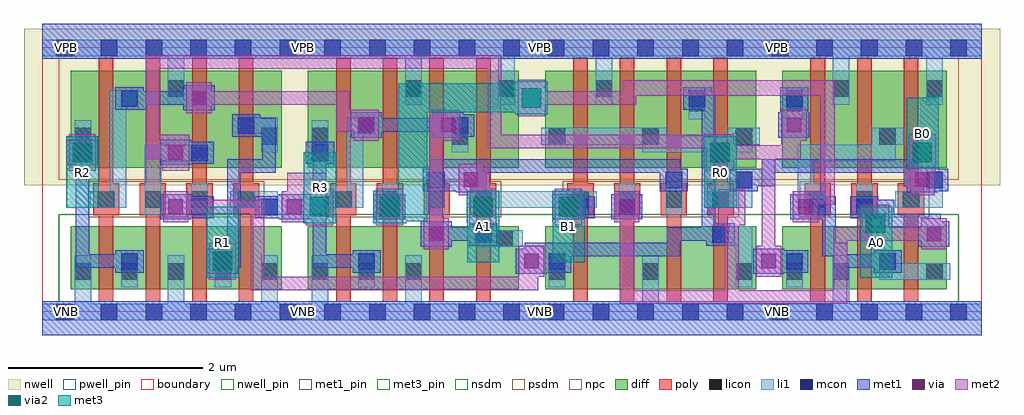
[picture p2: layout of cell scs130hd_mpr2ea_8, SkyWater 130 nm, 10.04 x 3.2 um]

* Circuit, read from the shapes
.subckt scs130hd_mpr2ea_8 A0 A1 B0 B1 R0 R1 R2 R3 VNB VPB vgnd vpwr
XM1 R2 n1 vgnd VNB sky130_fd_pr__nfet_01v8 w=0.65 l=0.15
XM2 vgnd R0 R2 VNB sky130_fd_pr__nfet_01v8 w=0.65 l=0.15
XM3 R1 n2 vgnd VNB sky130_fd_pr__nfet_01v8 w=0.65 l=0.15
XM4 vgnd R3 R1 VNB sky130_fd_pr__nfet_01v8 w=0.65 l=0.15
XM5 R3 n1 vgnd VNB sky130_fd_pr__nfet_01v8 w=0.65 l=0.15
XM6 vgnd n3 R3 VNB sky130_fd_pr__nfet_01v8 w=0.65 l=0.15
XM7 n4 A1 vgnd VNB sky130_fd_pr__nfet_01v8 w=0.65 l=0.15
XM8 n1 B1 n4 VNB sky130_fd_pr__nfet_01v8 w=0.65 l=0.15
XM9 n5 B1 n2 VNB sky130_fd_pr__nfet_01v8 w=0.65 l=0.15
XM10 vgnd A0 n5 VNB sky130_fd_pr__nfet_01v8 w=0.65 l=0.15
XM11 n6 A1 vgnd VNB sky130_fd_pr__nfet_01v8 w=0.65 l=0.15
XM12 n2 B0 n6 VNB sky130_fd_pr__nfet_01v8 w=0.65 l=0.15
XM13 vgnd n3 R0 VNB sky130_fd_pr__nfet_01v8 w=0.65 l=0.15
XM14 n7 A0 vgnd VNB sky130_fd_pr__nfet_01v8 w=0.65 l=0.15
XM15 n3 B0 n7 VNB sky130_fd_pr__nfet_01v8 w=0.65 l=0.15
XM16 n8 n1 R2 VPB sky130_fd_pr__pfet_01v8 w=1 l=0.15
XM17 vpwr R0 n8 VPB sky130_fd_pr__pfet_01v8 w=1 l=0.15
XM18 n9 n2 vpwr VPB sky130_fd_pr__pfet_01v8 w=1 l=0.15
XM19 R1 R3 n9 VPB sky130_fd_pr__pfet_01v8 w=1 l=0.15
XM20 n10 n1 R3 VPB sky130_fd_pr__pfet_01v8 w=1 l=0.15
XM21 vpwr n3 n10 VPB sky130_fd_pr__pfet_01v8 w=1 l=0.15
XM22 n1 A1 vpwr VPB sky130_fd_pr__pfet_01v8 w=1 l=0.15
XM23 vpwr B1 n1 VPB sky130_fd_pr__pfet_01v8 w=1 l=0.15
XM24 vpwr B1 n11 VPB sky130_fd_pr__pfet_01v8 w=1 l=0.15
XM25 n11 A0 vpwr VPB sky130_fd_pr__pfet_01v8 w=1 l=0.15
XM26 n2 A1 n11 VPB sky130_fd_pr__pfet_01v8 w=1 l=0.15
XM27 n11 B0 n2 VPB sky130_fd_pr__pfet_01v8 w=1 l=0.15
XM28 vpwr n3 R0 VPB sky130_fd_pr__pfet_01v8 w=1 l=0.15
XM29 n3 A0 vpwr VPB sky130_fd_pr__pfet_01v8 w=1 l=0.15
XM30 vpwr B0 n3 VPB sky130_fd_pr__pfet_01v8 w=1 l=0.15
.ends

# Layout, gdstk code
import gdstk
lib = gdstk.Library(unit=1e-6, precision=1e-09)
def R(c, l, rs):  # rectangles x0, y0, x1, y1
    for r in rs: c.add(gdstk.rectangle(r[:2], r[2:], *l))
nwell_pin = (64, 16)
nwell = (64, 20)
diff = (65, 20)
poly = (66, 20)
licon = (66, 44)
li1 = (67, 20)
mcon = (67, 44)
met1_pin = (68, 16)
met1 = (68, 20)
via = (68, 44)
met2 = (69, 20)
via2 = (69, 44)
met3_pin = (70, 16)
met3 = (70, 20)
nsdm = (93, 44)
psdm = (94, 20)
npc = (95, 20)
pwell_pin = (122, 16)
boundary = (235, 4)

scs130hd_mpr2ea_8 = lib.new_cell('scs130hd_mpr2ea_8')
R(scs130hd_mpr2ea_8, nwell_pin, [(0.16,2.63,0.33,2.8), (0.16,2.63,0.33,2.8), (2.6,2.63,2.77,2.8), (2.6,2.63,2.77,2.8), (5.04,2.63,5.21,2.8), (5.04,2.63,5.21,2.8), (7.48,2.63,7.65,2.8), (7.48,2.63,7.65,2.8)])
R(scs130hd_mpr2ea_8, nwell, [(-0.19,1.3,9.85,2.91), (-0.19,1.3,9.85,2.91)])
R(scs130hd_mpr2ea_8, diff, [(0.29,0.23,2.46,0.88), (0.29,0.23,2.46,0.88), (2.73,0.23,4.9,0.88), (2.73,0.23,4.9,0.88), (5.17,0.23,7.34,0.88), (5.17,0.23,7.34,0.88), (7.61,0.23,9.3,0.88), (7.61,0.23,9.3,0.88), (0.29,1.48,2.46,2.48), (0.29,1.48,2.46,2.48), (2.73,1.48,4.9,2.48), (2.73,1.48,4.9,2.48), (5.17,1.48,7.34,2.48), (5.17,1.48,7.34,2.48), (7.61,1.48,9.3,2.48), (7.61,1.48,9.3,2.48)])
R(scs130hd_mpr2ea_8, poly, [(0.58,0.1,0.73,0.99), (0.58,0.1,0.73,0.99), (1.06,0.1,1.21,0.99), (1.06,0.1,1.21,0.99), (1.54,0.1,1.69,0.99), (1.54,0.1,1.69,0.99), (2.02,0.1,2.17,0.99), (2.02,0.1,2.17,0.99), (3.02,0.1,3.17,0.99), (3.02,0.1,3.17,0.99), (3.5,0.1,3.65,0.99), (3.5,0.1,3.65,0.99), (3.98,0.1,4.13,0.99), (3.98,0.1,4.13,0.99), (4.46,0.1,4.61,0.99), (4.46,0.1,4.61,0.99), (5.46,0.1,5.61,0.99), (5.46,0.1,5.61,0.99), (5.94,0.1,6.09,0.99), (5.94,0.1,6.09,0.99), (6.42,0.1,6.57,0.99), (6.42,0.1,6.57,0.99), (6.9,0.1,7.05,0.99), (6.9,0.1,7.05,0.99), (7.9,0.1,8.05,0.99), (7.9,0.1,8.05,0.99), (8.38,0.1,8.53,0.99), (8.38,0.1,8.53,0.99), (8.86,0.1,9.01,0.99), (8.86,0.1,9.01,0.99), (0.52,0.99,0.79,1.32), (0.52,0.99,0.79,1.32), (1,0.99,1.27,1.32), (1,0.99,1.27,1.32), (1.48,0.99,1.75,1.32), (1.48,0.99,1.75,1.32), (1.96,0.99,2.23,1.32), (1.96,0.99,2.23,1.32), (2.96,0.99,3.23,1.32), (2.96,0.99,3.23,1.32), (3.44,0.99,3.71,1.32), (3.44,0.99,3.71,1.32), (3.92,0.99,4.19,1.32), (3.92,0.99,4.19,1.32), (4.4,0.99,4.67,1.32), (4.4,0.99,4.67,1.32), (5.4,0.99,5.67,1.32), (5.4,0.99,5.67,1.32), (5.88,0.99,6.15,1.32), (5.88,0.99,6.15,1.32), (6.36,0.99,6.63,1.32), (6.36,0.99,6.63,1.32), (6.84,0.99,7.11,1.32), (6.84,0.99,7.11,1.32), (7.84,0.99,8.11,1.32), (7.84,0.99,8.11,1.32), (8.32,0.99,8.59,1.32), (8.32,0.99,8.59,1.32), (8.8,0.99,9.07,1.32), (8.8,0.99,9.07,1.32), (0.58,1.32,0.73,2.61), (0.58,1.32,0.73,2.61), (1.06,1.32,1.21,2.61), (1.06,1.32,1.21,2.61), (1.54,1.32,1.69,2.61), (1.54,1.32,1.69,2.61), (2.02,1.32,2.17,2.61), (2.02,1.32,2.17,2.61), (3.02,1.32,3.17,2.61), (3.02,1.32,3.17,2.61), (3.5,1.32,3.65,2.61), (3.5,1.32,3.65,2.61), (3.98,1.32,4.13,2.61), (3.98,1.32,4.13,2.61), (4.46,1.32,4.61,2.61), (4.46,1.32,4.61,2.61), (5.46,1.32,5.61,2.61), (5.46,1.32,5.61,2.61), (5.94,1.32,6.09,2.61), (5.94,1.32,6.09,2.61), (6.42,1.32,6.57,2.61), (6.42,1.32,6.57,2.61), (6.9,1.32,7.05,2.61), (6.9,1.32,7.05,2.61), (7.9,1.32,8.05,2.61), (7.9,1.32,8.05,2.61), (8.38,1.32,8.53,2.61), (8.38,1.32,8.53,2.61), (8.86,1.32,9.01,2.61), (8.86,1.32,9.01,2.61)])
R(scs130hd_mpr2ea_8, licon, [(0.33,0.33,0.5,0.5), (0.33,0.33,0.5,0.5), (0.81,0.33,0.98,0.5), (0.81,0.33,0.98,0.5), (1.29,0.33,1.46,0.5), (1.29,0.33,1.46,0.5), (1.77,0.33,1.94,0.5), (1.77,0.33,1.94,0.5), (2.25,0.33,2.42,0.5), (2.25,0.33,2.42,0.5), (2.77,0.33,2.94,0.5), (2.77,0.33,2.94,0.5), (3.25,0.33,3.42,0.5), (3.25,0.33,3.42,0.5), (3.73,0.33,3.9,0.5), (3.73,0.33,3.9,0.5), (5.21,0.33,5.38,0.5), (5.21,0.33,5.38,0.5), (6.17,0.33,6.34,0.5), (6.17,0.33,6.34,0.5), (7.13,0.33,7.3,0.5), (7.13,0.33,7.3,0.5), (7.65,0.33,7.82,0.5), (7.65,0.33,7.82,0.5), (8.13,0.33,8.3,0.5), (8.13,0.33,8.3,0.5), (9.09,0.33,9.26,0.5), (9.09,0.33,9.26,0.5), (4.67,0.67,4.84,0.84), (4.67,0.67,4.84,0.84), (0.57,1.07,0.74,1.24), (0.57,1.07,0.74,1.24), (1.05,1.07,1.22,1.24), (1.05,1.07,1.22,1.24), (1.53,1.07,1.7,1.24), (1.53,1.07,1.7,1.24), (2.01,1.07,2.18,1.24), (2.01,1.07,2.18,1.24), (3.01,1.07,3.18,1.24), (3.01,1.07,3.18,1.24), (3.49,1.07,3.66,1.24), (3.49,1.07,3.66,1.24), (3.97,1.07,4.14,1.24), (3.97,1.07,4.14,1.24), (4.45,1.07,4.62,1.24), (4.45,1.07,4.62,1.24), (5.45,1.07,5.62,1.24), (5.45,1.07,5.62,1.24), (5.93,1.07,6.1,1.24), (5.93,1.07,6.1,1.24), (6.41,1.07,6.58,1.24), (6.41,1.07,6.58,1.24), (6.89,1.07,7.06,1.24), (6.89,1.07,7.06,1.24), (7.89,1.07,8.06,1.24), (7.89,1.07,8.06,1.24), (8.37,1.07,8.54,1.24), (8.37,1.07,8.54,1.24), (8.85,1.07,9.02,1.24), (8.85,1.07,9.02,1.24), (0.33,1.72,0.5,1.89), (0.33,1.72,0.5,1.89), (2.25,1.72,2.42,1.89), (2.25,1.72,2.42,1.89), (2.77,1.72,2.94,1.89), (2.77,1.72,2.94,1.89), (4.21,1.72,4.38,1.89), (4.21,1.72,4.38,1.89), (5.21,1.72,5.38,1.89), (5.21,1.72,5.38,1.89), (6.17,1.72,6.34,1.89), (6.17,1.72,6.34,1.89), (7.13,1.72,7.3,1.89), (7.13,1.72,7.3,1.89), (8.61,1.72,8.78,1.89), (8.61,1.72,8.78,1.89), (6.65,2.06,6.82,2.23), (6.65,2.06,6.82,2.23), (7.65,2.06,7.82,2.23), (7.65,2.06,7.82,2.23), (1.29,2.21,1.46,2.38), (1.29,2.21,1.46,2.38), (3.73,2.21,3.9,2.38), (3.73,2.21,3.9,2.38), (4.69,2.21,4.86,2.38), (4.69,2.21,4.86,2.38), (5.69,2.21,5.86,2.38), (5.69,2.21,5.86,2.38), (8.13,2.21,8.3,2.38), (8.13,2.21,8.3,2.38), (9.09,2.21,9.26,2.38), (9.09,2.21,9.26,2.38)])
R(scs130hd_mpr2ea_8, li1, [(0,-0.09,9.66,0.08), (0,-0.09,9.66,0.08), (0.33,0.08,0.5,0.58), (0.33,0.08,0.5,0.58), (1.29,0.08,1.46,0.58), (1.29,0.08,1.46,0.58), (2.25,0.08,2.42,0.58), (2.25,0.08,2.42,0.58), (2.77,0.08,2.94,0.58), (2.77,0.08,2.94,0.58), (3.73,0.08,3.9,0.58), (3.73,0.08,3.9,0.58), (6.17,0.08,6.34,0.58), (6.17,0.08,6.34,0.58), (8.13,0.08,8.3,0.58), (8.13,0.08,8.3,0.58), (0.81,0.25,0.98,0.6), (0.81,0.25,0.98,0.6), (1.77,0.25,1.94,0.6), (1.77,0.25,1.94,0.6), (3.25,0.25,3.42,0.6), (3.25,0.25,3.42,0.6), (5.21,0.25,5.38,0.6), (5.21,0.25,5.38,0.6), (7.13,0.25,7.3,0.71), (7.13,0.25,7.3,0.71), (7.65,0.25,7.82,0.6), (7.65,0.25,7.82,0.6), (8.61,0.33,9.34,0.5), (8.61,0.33,9.34,0.5), (8.61,0.5,8.78,0.6), (8.61,0.5,8.78,0.6), (4.45,0.67,4.94,0.84), (4.45,0.67,4.94,0.84), (6.89,0.71,7.3,0.88), (6.89,0.71,7.3,0.88), (4.45,0.84,4.62,0.88), (4.45,0.84,4.62,0.88), (1.05,0.99,1.22,1.55), (1.05,0.99,1.22,1.55), (1.53,0.99,1.7,1.32), (1.53,0.99,1.7,1.32), (2.25,0.99,2.42,1.07), (2.25,0.99,2.42,1.07), (3.49,0.99,3.66,1.32), (3.49,0.99,3.66,1.32), (3.97,0.99,4.14,1.44), (3.97,0.99,4.14,1.44), (5.45,0.99,5.62,1.07), (5.45,0.99,5.62,1.07), (5.93,0.99,6.1,1.32), (5.93,0.99,6.1,1.32), (6.41,0.99,6.58,1.44), (6.41,0.99,6.58,1.44), (7.89,0.99,8.06,1.07), (7.89,0.99,8.06,1.07), (8.37,0.99,8.54,1.32), (8.37,0.99,8.54,1.32), (0.49,1.07,0.86,1.24), (0.49,1.07,0.86,1.24), (1.93,1.07,2.42,1.24), (1.93,1.07,2.42,1.24), (2.93,1.07,3.3,1.24), (2.93,1.07,3.3,1.24), (4.37,1.07,5.7,1.24), (4.37,1.07,5.7,1.24), (6.81,1.07,7.3,1.24), (6.81,1.07,7.3,1.24), (7.77,1.07,8.06,1.32), (7.77,1.07,8.06,1.32), (8.77,1.07,9.26,1.24), (8.77,1.07,9.26,1.24), (0.69,1.24,0.86,2.11), (0.69,1.24,0.86,2.11), (3.13,1.24,3.3,1.83), (3.13,1.24,3.3,1.83), (7.13,1.24,7.3,1.44), (7.13,1.24,7.3,1.44), (9.09,1.24,9.26,1.44), (9.09,1.24,9.26,1.44), (7.77,1.32,7.94,1.55), (7.77,1.32,7.94,1.55), (0.33,1.55,0.5,1.97), (0.33,1.55,0.5,1.97), (1.05,1.55,1.7,1.72), (1.05,1.55,1.7,1.72), (2.77,1.55,2.94,1.97), (2.77,1.55,2.94,1.97), (7.77,1.55,8.78,1.72), (7.77,1.55,8.78,1.72), (2.25,1.64,2.42,1.83), (2.25,1.64,2.42,1.83), (4.21,1.64,4.38,2), (4.21,1.64,4.38,2), (6.17,1.64,7.3,1.72), (6.17,1.64,7.3,1.72), (5.13,1.72,7.38,1.81), (5.13,1.72,7.38,1.81), (8.53,1.72,8.86,1.89), (8.53,1.72,8.86,1.89), (5.13,1.81,6.42,1.89), (5.13,1.81,6.42,1.89), (7.05,1.81,7.38,1.89), (7.05,1.81,7.38,1.89), (2.01,1.83,2.42,2), (2.01,1.83,2.42,2), (3.13,1.83,3.42,2), (3.13,1.83,3.42,2), (6.65,1.98,6.82,2.31), (6.65,1.98,6.82,2.31), (7.65,1.98,7.82,2.31), (7.65,1.98,7.82,2.31), (0.69,2.11,0.98,2.28), (0.69,2.11,0.98,2.28), (1.29,2.13,1.46,2.63), (1.29,2.13,1.46,2.63), (3.73,2.13,3.9,2.63), (3.73,2.13,3.9,2.63), (4.69,2.13,4.86,2.63), (4.69,2.13,4.86,2.63), (5.69,2.13,5.86,2.63), (5.69,2.13,5.86,2.63), (8.13,2.13,8.3,2.63), (8.13,2.13,8.3,2.63), (9.09,2.13,9.26,2.63), (9.09,2.13,9.26,2.63), (0,2.63,9.66,2.8), (0,2.63,9.66,2.8)])
R(scs130hd_mpr2ea_8, mcon, [(0.14,-0.09,0.31,0.08), (0.14,-0.09,0.31,0.08), (0.6,-0.09,0.77,0.08), (0.6,-0.09,0.77,0.08), (1.06,-0.09,1.23,0.08), (1.06,-0.09,1.23,0.08), (1.52,-0.09,1.69,0.08), (1.52,-0.09,1.69,0.08), (1.98,-0.09,2.15,0.08), (1.98,-0.09,2.15,0.08), (2.44,-0.09,2.61,0.08), (2.44,-0.09,2.61,0.08), (2.9,-0.09,3.07,0.08), (2.9,-0.09,3.07,0.08), (3.36,-0.09,3.53,0.08), (3.36,-0.09,3.53,0.08), (3.82,-0.09,3.99,0.08), (3.82,-0.09,3.99,0.08), (4.28,-0.09,4.45,0.08), (4.28,-0.09,4.45,0.08), (4.74,-0.09,4.91,0.08), (4.74,-0.09,4.91,0.08), (5.2,-0.09,5.37,0.08), (5.2,-0.09,5.37,0.08), (5.66,-0.09,5.83,0.08), (5.66,-0.09,5.83,0.08), (6.12,-0.09,6.29,0.08), (6.12,-0.09,6.29,0.08), (6.58,-0.09,6.75,0.08), (6.58,-0.09,6.75,0.08), (7.04,-0.09,7.21,0.08), (7.04,-0.09,7.21,0.08), (7.5,-0.09,7.67,0.08), (7.5,-0.09,7.67,0.08), (7.96,-0.09,8.13,0.08), (7.96,-0.09,8.13,0.08), (8.42,-0.09,8.59,0.08), (8.42,-0.09,8.59,0.08), (8.88,-0.09,9.05,0.08), (8.88,-0.09,9.05,0.08), (9.34,-0.09,9.51,0.08), (9.34,-0.09,9.51,0.08), (0.81,0.43,0.98,0.6), (0.81,0.43,0.98,0.6), (1.77,0.43,1.94,0.6), (1.77,0.43,1.94,0.6), (3.25,0.43,3.42,0.6), (3.25,0.43,3.42,0.6), (5.21,0.43,5.38,0.6), (5.21,0.43,5.38,0.6), (7.65,0.43,7.82,0.6), (7.65,0.43,7.82,0.6), (8.61,0.43,8.78,0.6), (8.61,0.43,8.78,0.6), (4.45,0.71,4.62,0.88), (4.45,0.71,4.62,0.88), (6.89,0.71,7.06,0.88), (6.89,0.71,7.06,0.88), (1.53,0.99,1.7,1.16), (1.53,0.99,1.7,1.16), (2.25,0.99,2.42,1.16), (2.25,0.99,2.42,1.16), (3.49,0.99,3.66,1.16), (3.49,0.99,3.66,1.16), (5.45,0.99,5.62,1.16), (5.45,0.99,5.62,1.16), (5.93,0.99,6.1,1.16), (5.93,0.99,6.1,1.16), (7.89,0.99,8.06,1.16), (7.89,0.99,8.06,1.16), (8.37,0.99,8.54,1.16), (8.37,0.99,8.54,1.16), (3.97,1.27,4.14,1.44), (3.97,1.27,4.14,1.44), (6.41,1.27,6.58,1.44), (6.41,1.27,6.58,1.44), (7.13,1.27,7.3,1.44), (7.13,1.27,7.3,1.44), (9.09,1.27,9.26,1.44), (9.09,1.27,9.26,1.44), (0.33,1.55,0.5,1.72), (0.33,1.55,0.5,1.72), (1.53,1.55,1.7,1.72), (1.53,1.55,1.7,1.72), (2.77,1.55,2.94,1.72), (2.77,1.55,2.94,1.72), (2.01,1.83,2.18,2), (2.01,1.83,2.18,2), (3.25,1.83,3.42,2), (3.25,1.83,3.42,2), (4.21,1.83,4.38,2), (4.21,1.83,4.38,2), (0.81,2.11,0.98,2.28), (0.81,2.11,0.98,2.28), (6.65,2.11,6.82,2.28), (6.65,2.11,6.82,2.28), (7.65,2.11,7.82,2.28), (7.65,2.11,7.82,2.28), (0.14,2.63,0.31,2.8), (0.14,2.63,0.31,2.8), (0.6,2.63,0.77,2.8), (0.6,2.63,0.77,2.8), (1.06,2.63,1.23,2.8), (1.06,2.63,1.23,2.8), (1.52,2.63,1.69,2.8), (1.52,2.63,1.69,2.8), (1.98,2.63,2.15,2.8), (1.98,2.63,2.15,2.8), (2.44,2.63,2.61,2.8), (2.44,2.63,2.61,2.8), (2.9,2.63,3.07,2.8), (2.9,2.63,3.07,2.8), (3.36,2.63,3.53,2.8), (3.36,2.63,3.53,2.8), (3.82,2.63,3.99,2.8), (3.82,2.63,3.99,2.8), (4.28,2.63,4.45,2.8), (4.28,2.63,4.45,2.8), (4.74,2.63,4.91,2.8), (4.74,2.63,4.91,2.8), (5.2,2.63,5.37,2.8), (5.2,2.63,5.37,2.8), (5.66,2.63,5.83,2.8), (5.66,2.63,5.83,2.8), (6.12,2.63,6.29,2.8), (6.12,2.63,6.29,2.8), (6.58,2.63,6.75,2.8), (6.58,2.63,6.75,2.8), (7.04,2.63,7.21,2.8), (7.04,2.63,7.21,2.8), (7.5,2.63,7.67,2.8), (7.5,2.63,7.67,2.8), (7.96,2.63,8.13,2.8), (7.96,2.63,8.13,2.8), (8.42,2.63,8.59,2.8), (8.42,2.63,8.59,2.8), (8.88,2.63,9.05,2.8), (8.88,2.63,9.05,2.8), (9.34,2.63,9.51,2.8), (9.34,2.63,9.51,2.8)])
R(scs130hd_mpr2ea_8, met1_pin, [(0.15,-0.08,0.32,0.08), (0.15,-0.08,0.32,0.08), (0.15,2.63,0.32,2.8), (0.15,2.63,0.32,2.8)])
R(scs130hd_mpr2ea_8, met1, [(0,-0.24,9.66,0.11), (0,-0.24,9.66,0.11), (1.69,0.39,2.01,0.45), (1.69,0.39,2.01,0.45), (4.87,0.39,5.19,0.4), (4.87,0.39,5.19,0.4), (7.31,0.39,7.63,0.4), (7.31,0.39,7.63,0.4), (0.75,0.4,1.04,0.45), (0.75,0.4,1.04,0.45), (3.19,0.4,3.48,0.45), (3.19,0.4,3.48,0.45), (4.87,0.4,5.44,0.57), (4.87,0.4,5.44,0.57), (7.31,0.4,7.88,0.63), (7.31,0.4,7.88,0.63), (8.55,0.4,8.84,0.45), (8.55,0.4,8.84,0.45), (0.34,0.45,1.04,0.59), (0.34,0.45,1.04,0.59), (1.69,0.45,2.04,0.65), (1.69,0.45,2.04,0.65), (2.78,0.45,3.48,0.59), (2.78,0.45,3.48,0.59), (8.14,0.45,8.84,0.57), (8.14,0.45,8.84,0.57), (4.87,0.57,6.56,0.65), (4.87,0.57,6.56,0.65), (8.02,0.57,8.84,0.59), (8.02,0.57,8.84,0.59), (0.34,0.59,0.48,1.51), (0.34,0.59,0.48,1.51), (0.75,0.59,1.04,0.63), (0.75,0.59,1.04,0.63), (2.78,0.59,2.92,0.95), (2.78,0.59,2.92,0.95), (3.19,0.59,3.48,0.63), (3.19,0.59,3.48,0.63), (8.02,0.59,8.28,0.71), (8.02,0.59,8.28,0.71), (8.55,0.59,8.84,0.63), (8.55,0.59,8.84,0.63), (7.31,0.63,7.63,0.65), (7.31,0.63,7.63,0.65), (1.9,0.65,2.04,1.43), (1.9,0.65,2.04,1.43), (4.96,0.65,6.56,0.71), (4.96,0.65,6.56,0.71), (3.89,0.67,4.21,0.73), (3.89,0.67,4.21,0.73), (9.01,0.67,9.33,0.87), (9.01,0.67,9.33,0.87), (4.39,0.68,4.68,0.73), (4.39,0.68,4.68,0.73), (6.83,0.68,7.12,0.73), (6.83,0.68,7.12,0.73), (6.42,0.71,6.56,0.73), (6.42,0.71,6.56,0.73), (8.02,0.71,8.16,0.95), (8.02,0.71,8.16,0.95), (3.89,0.73,4.68,0.87), (3.89,0.73,4.68,0.87), (6.42,0.73,7.12,0.87), (6.42,0.73,7.12,0.87), (3.89,0.87,4.21,0.93), (3.89,0.87,4.21,0.93), (4.39,0.87,4.68,0.91), (4.39,0.87,4.68,0.91), (6.78,0.87,7.12,0.91), (6.78,0.87,7.12,0.91), (8.62,0.87,9.33,0.93), (8.62,0.87,9.33,0.93), (6.78,0.91,6.92,2.08), (6.78,0.91,6.92,2.08), (8.62,0.93,9.24,0.96), (8.62,0.93,9.24,0.96), (1.21,0.95,1.53,0.96), (1.21,0.95,1.53,0.96), (2.43,0.95,2.92,0.96), (2.43,0.95,2.92,0.96), (3.41,0.95,3.73,1.21), (3.41,0.95,3.73,1.21), (5.25,0.95,5.57,0.96), (5.25,0.95,5.57,0.96), (5.85,0.95,6.17,1.21), (5.85,0.95,6.17,1.21), (7.69,0.95,8.16,1.19), (7.69,0.95,8.16,1.19), (1.21,0.96,1.76,1.19), (1.21,0.96,1.76,1.19), (2.19,0.96,2.92,1.19), (2.19,0.96,2.92,1.19), (5.25,0.96,5.68,1.19), (5.25,0.96,5.68,1.19), (8.31,0.96,9.24,1.01), (8.31,0.96,9.24,1.01), (8.31,1.01,8.76,1.15), (8.31,1.01,8.76,1.15), (8.31,1.15,8.6,1.19), (8.31,1.15,8.6,1.19), (1.21,1.19,1.53,1.21), (1.21,1.19,1.53,1.21), (2.43,1.19,2.92,1.21), (2.43,1.19,2.92,1.21), (5.25,1.19,5.57,1.21), (5.25,1.19,5.57,1.21), (7.69,1.19,8.01,1.21), (7.69,1.19,8.01,1.21), (2.78,1.21,2.92,1.52), (2.78,1.21,2.92,1.52), (4.25,1.23,4.57,1.24), (4.25,1.23,4.57,1.24), (8.89,1.23,9.21,1.24), (8.89,1.23,9.21,1.24), (3.91,1.24,4.57,1.43), (3.91,1.24,4.57,1.43), (6.35,1.24,6.64,1.43), (6.35,1.24,6.64,1.43), (7.07,1.24,7.36,1.29), (7.07,1.24,7.36,1.29), (8.89,1.24,9.32,1.29), (8.89,1.24,9.32,1.29), (7.07,1.29,7.54,1.43), (7.07,1.29,7.54,1.43), (8.86,1.29,9.32,1.43), (8.86,1.29,9.32,1.43), (1.9,1.43,2.4,1.57), (1.9,1.43,2.4,1.57), (3.91,1.43,6.64,1.47), (3.91,1.43,6.64,1.47), (7.07,1.43,9.32,1.47), (7.07,1.43,9.32,1.47), (3.98,1.47,6.56,1.57), (3.98,1.47,6.56,1.57), (7.4,1.47,9.21,1.49), (7.4,1.47,9.21,1.49), (7.4,1.49,9,1.57), (7.4,1.49,9,1.57), (0.25,1.51,0.57,1.77), (0.25,1.51,0.57,1.77), (1.21,1.51,1.53,1.52), (1.21,1.51,1.53,1.52), (1.21,1.52,1.76,1.75), (1.21,1.52,1.76,1.75), (2.71,1.52,3,1.75), (2.71,1.52,3,1.75), (2.26,1.57,2.4,1.8), (2.26,1.57,2.4,1.8), (1.21,1.75,1.53,1.77), (1.21,1.75,1.53,1.77), (3.17,1.79,3.49,1.85), (3.17,1.79,3.49,1.85), (4.01,1.79,4.33,1.8), (4.01,1.79,4.33,1.8), (7.57,1.79,7.89,2.05), (7.57,1.79,7.89,2.05), (1.95,1.8,2.4,1.99), (1.95,1.8,2.4,1.99), (4.01,1.8,4.44,1.85), (4.01,1.8,4.44,1.85), (3.17,1.85,4.44,1.99), (3.17,1.85,4.44,1.99), (1.95,1.99,2.24,2.03), (1.95,1.99,2.24,2.03), (3.17,1.99,3.49,2.05), (3.17,1.99,3.49,2.05), (4.01,1.99,4.44,2.03), (4.01,1.99,4.44,2.03), (4.01,2.03,4.33,2.05), (4.01,2.03,4.33,2.05), (7.59,2.05,7.88,2.31), (7.59,2.05,7.88,2.31), (1.45,2.07,1.77,2.13), (1.45,2.07,1.77,2.13), (0.75,2.08,1.08,2.13), (0.75,2.08,1.08,2.13), (6.59,2.08,6.92,2.27), (6.59,2.08,6.92,2.27), (0.75,2.13,1.77,2.27), (0.75,2.13,1.77,2.27), (0.75,2.27,1.04,2.31), (0.75,2.27,1.04,2.31), (1.45,2.27,1.77,2.33), (1.45,2.27,1.77,2.33), (6.59,2.27,6.88,2.31), (6.59,2.27,6.88,2.31), (0,2.6,9.66,2.96), (0,2.6,9.66,2.96)])
R(scs130hd_mpr2ea_8, via, [(1.775,0.445,1.925,0.595), (1.775,0.445,1.925,0.595), (4.955,0.445,5.105,0.595), (4.955,0.445,5.105,0.595), (7.395,0.445,7.545,0.595), (7.395,0.445,7.545,0.595), (3.975,0.725,4.125,0.875), (3.975,0.725,4.125,0.875), (9.095,0.725,9.245,0.875), (9.095,0.725,9.245,0.875), (1.295,1.005,1.445,1.155), (1.295,1.005,1.445,1.155), (2.515,1.005,2.665,1.155), (2.515,1.005,2.665,1.155), (3.495,1.005,3.645,1.155), (3.495,1.005,3.645,1.155), (5.335,1.005,5.485,1.155), (5.335,1.005,5.485,1.155), (5.935,1.005,6.085,1.155), (5.935,1.005,6.085,1.155), (7.775,1.005,7.925,1.155), (7.775,1.005,7.925,1.155), (4.335,1.285,4.485,1.435), (4.335,1.285,4.485,1.435), (8.975,1.285,9.125,1.435), (8.975,1.285,9.125,1.435), (0.335,1.565,0.485,1.715), (0.335,1.565,0.485,1.715), (1.295,1.565,1.445,1.715), (1.295,1.565,1.445,1.715), (3.255,1.845,3.405,1.995), (3.255,1.845,3.405,1.995), (4.095,1.845,4.245,1.995), (4.095,1.845,4.245,1.995), (7.655,1.845,7.805,1.995), (7.655,1.845,7.805,1.995), (1.535,2.125,1.685,2.275), (1.535,2.125,1.685,2.275)])
R(scs130hd_mpr2ea_8, met2, [(5.94,0.08,8.28,0.22), (5.94,0.08,8.28,0.22), (2.14,0.22,5.1,0.36), (2.14,0.22,5.1,0.36), (5.94,0.22,6.08,0.92), (5.94,0.22,6.08,0.92), (7.02,0.22,7.16,0.89), (7.02,0.22,7.16,0.89), (8.14,0.22,8.28,0.73), (8.14,0.22,8.28,0.73), (1.71,0.33,1.99,0.705), (1.71,0.33,1.99,0.705), (2.14,0.36,2.28,1.01), (2.14,0.36,2.28,1.01), (4.9,0.36,5.16,0.68), (4.9,0.36,5.16,0.68), (7.34,0.36,7.6,0.68), (7.34,0.36,7.6,0.68), (3.92,0.64,4.18,0.96), (3.92,0.64,4.18,0.96), (9.04,0.64,9.3,0.73), (9.04,0.64,9.3,0.73), (7.4,0.68,7.54,1.57), (7.4,0.68,7.54,1.57), (8.14,0.73,9.3,0.87), (8.14,0.73,9.3,0.87), (8.43,0.87,8.71,1.1), (8.43,0.87,8.71,1.1), (9.04,0.87,9.3,0.96), (9.04,0.87,9.3,0.96), (2.71,0.89,2.99,0.92), (2.71,0.89,2.99,0.92), (3.43,0.89,3.71,1.265), (3.43,0.89,3.71,1.265), (4.39,0.89,4.67,1.2), (4.39,0.89,4.67,1.2), (5.27,0.89,5.55,1.265), (5.27,0.89,5.55,1.265), (6.95,0.89,7.23,1.26), (6.95,0.89,7.23,1.26), (1.24,0.92,1.5,1.01), (1.24,0.92,1.5,1.01), (2.46,0.92,2.99,1.24), (2.46,0.92,2.99,1.24), (5.88,0.92,6.14,1.24), (5.88,0.92,6.14,1.24), (7.72,0.92,7.98,1.1), (7.72,0.92,7.98,1.1), (3.98,0.96,4.12,1.76), (3.98,0.96,4.12,1.76), (1.24,1.01,2.28,1.15), (1.24,1.01,2.28,1.15), (7.72,1.1,8.15,1.24), (7.72,1.1,8.15,1.24), (1.24,1.15,1.5,1.24), (1.24,1.15,1.5,1.24), (4.28,1.2,4.67,1.265), (4.28,1.2,4.67,1.265), (8.92,1.2,9.18,1.45), (8.92,1.2,9.18,1.45), (2.52,1.24,2.99,1.265), (2.52,1.24,2.99,1.265), (8,1.24,8.15,2.22), (8,1.24,8.15,2.22), (2.52,1.265,2.92,1.43), (2.52,1.265,2.92,1.43), (4.28,1.265,4.6,1.43), (4.28,1.265,4.6,1.43), (4.28,1.43,4.54,1.52), (4.28,1.43,4.54,1.52), (0.27,1.45,0.55,1.825), (0.27,1.45,0.55,1.825), (1.23,1.45,1.51,1.57), (1.23,1.45,1.51,1.57), (6.83,1.45,7.11,1.57), (6.83,1.45,7.11,1.57), (8.91,1.45,9.19,1.825), (8.91,1.45,9.19,1.825), (1.06,1.57,1.51,1.82), (1.06,1.57,1.51,1.82), (6.83,1.57,7.8,1.68), (6.83,1.57,7.8,1.68), (4.58,1.68,7.8,1.71), (4.58,1.68,7.8,1.71), (4.58,1.71,7.11,1.82), (4.58,1.71,7.11,1.82), (7.6,1.71,7.8,1.76), (7.6,1.71,7.8,1.76), (3.2,1.76,3.46,1.85), (3.2,1.76,3.46,1.85), (3.98,1.76,4.3,2.08), (3.98,1.76,4.3,2.08), (7.6,1.76,7.86,2.08), (7.6,1.76,7.86,2.08), (1.06,1.82,1.2,2.5), (1.06,1.82,1.2,2.5), (4.58,1.82,4.72,2.5), (4.58,1.82,4.72,2.5), (6.81,1.82,7.11,1.825), (6.81,1.82,7.11,1.825), (3.02,1.85,3.46,2.08), (3.02,1.85,3.46,2.08), (4.89,2.01,5.17,2.13), (4.89,2.01,5.17,2.13), (1.48,2.04,1.74,2.13), (1.48,2.04,1.74,2.13), (3.02,2.08,3.16,2.13), (3.02,2.08,3.16,2.13), (1.48,2.13,3.16,2.27), (1.48,2.13,3.16,2.27), (4.89,2.13,6.11,2.22), (4.89,2.13,6.11,2.22), (4.89,2.22,8.15,2.27), (4.89,2.22,8.15,2.27), (1.48,2.27,1.74,2.36), (1.48,2.27,1.74,2.36), (4.89,2.27,5.17,2.385), (4.89,2.27,5.17,2.385), (5.97,2.27,8.15,2.38), (5.97,2.27,8.15,2.38), (1.06,2.5,4.72,2.64), (1.06,2.5,4.72,2.64)])
R(scs130hd_mpr2ea_8, via2, [(1.75,0.42,1.95,0.62), (1.75,0.42,1.95,0.62), (8.47,0.81,8.67,1.01), (8.47,0.81,8.67,1.01), (2.75,0.98,2.95,1.18), (2.75,0.98,2.95,1.18), (3.47,0.98,3.67,1.18), (3.47,0.98,3.67,1.18), (4.43,0.98,4.63,1.18), (4.43,0.98,4.63,1.18), (5.31,0.98,5.51,1.18), (5.31,0.98,5.51,1.18), (0.31,1.54,0.51,1.74), (0.31,1.54,0.51,1.74), (6.87,1.54,7.07,1.74), (6.87,1.54,7.07,1.74), (8.95,1.54,9.15,1.74), (8.95,1.54,9.15,1.74), (4.93,2.1,5.13,2.3), (4.93,2.1,5.13,2.3)])
R(scs130hd_mpr2ea_8, met3_pin, [(1.69,0.35,2.02,1.08), (1.69,0.35,2.02,1.08), (8.41,0.35,8.74,1.08), (8.41,0.35,8.74,1.08), (4.37,0.51,4.7,1.24), (4.37,0.51,4.7,1.24), (5.25,0.51,5.58,1.24), (5.25,0.51,5.58,1.24), (2.69,0.91,3.02,1.64), (2.69,0.91,3.02,1.64), (0.25,1.07,0.58,1.8), (0.25,1.07,0.58,1.8), (6.81,1.07,7.14,1.8), (6.81,1.07,7.14,1.8), (8.89,1.47,9.22,2.2), (8.89,1.47,9.22,2.2)])
R(scs130hd_mpr2ea_8, met3, [(1.685,0.35,2.02,0.675), (1.685,0.35,2.02,0.675), (8.41,0.35,8.74,0.73), (8.41,0.35,8.74,0.73), (4.37,0.51,4.7,0.915), (4.37,0.51,4.7,0.915), (5.25,0.51,5.58,0.925), (5.25,0.51,5.58,0.925), (1.69,0.675,2.02,1.08), (1.69,0.675,2.02,1.08), (8.405,0.73,8.74,1.08), (8.405,0.73,8.74,1.08), (2.685,0.91,3.02,1.245), (2.685,0.91,3.02,1.245), (3.405,0.91,3.74,0.93), (3.405,0.91,3.74,0.93), (4.365,0.915,4.7,1.245), (4.365,0.915,4.7,1.245), (5.245,0.925,5.58,1.245), (5.245,0.925,5.58,1.245), (3.405,0.93,3.96,1.245), (3.405,0.93,3.96,1.245), (0.245,1.07,0.58,1.805), (0.245,1.07,0.58,1.805), (6.81,1.07,7.14,1.48), (6.81,1.07,7.14,1.48), (2.69,1.245,3.02,1.64), (2.69,1.245,3.02,1.64), (3.66,1.245,3.96,2.05), (3.66,1.245,3.96,2.05), (8.885,1.47,9.22,1.8), (8.885,1.47,9.22,1.8), (6.805,1.48,7.14,1.805), (6.805,1.48,7.14,1.805), (8.89,1.8,9.22,2.2), (8.89,1.8,9.22,2.2), (4.865,2.03,5.2,2.05), (4.865,2.03,5.2,2.05), (3.66,2.05,5.2,2.35), (3.66,2.05,5.2,2.35), (4.865,2.35,5.2,2.37), (4.865,2.35,5.2,2.37)])
R(scs130hd_mpr2ea_8, nsdm, [(0.165,0.105,9.425,1.005), (0.165,0.105,9.425,1.005)])
R(scs130hd_mpr2ea_8, psdm, [(0.165,1.355,9.425,2.605), (0.165,1.355,9.425,2.605)])
R(scs130hd_mpr2ea_8, npc, [(0.47,0.97,2.28,1.34), (0.47,0.97,2.28,1.34), (2.91,0.97,4.72,1.34), (2.91,0.97,4.72,1.34), (5.35,0.97,7.16,1.34), (5.35,0.97,7.16,1.34), (7.79,0.97,9.12,1.34), (7.79,0.97,9.12,1.34)])
R(scs130hd_mpr2ea_8, pwell_pin, [(0.16,-0.08,0.33,0.08), (0.16,-0.08,0.33,0.08), (2.6,-0.08,2.77,0.08), (2.6,-0.08,2.77,0.08), (5.04,-0.08,5.21,0.08), (5.04,-0.08,5.21,0.08), (7.48,-0.08,7.65,0.08), (7.48,-0.08,7.65,0.08)])
R(scs130hd_mpr2ea_8, boundary, [(0,0,9.66,2.72), (0,0,9.66,2.72)])
scs130hd_mpr2ea_8.add(gdstk.Label('VPB', (0.245,2.715), layer=64, texttype=5))
scs130hd_mpr2ea_8.add(gdstk.Label('VPB', (2.685,2.715), layer=64, texttype=5))
scs130hd_mpr2ea_8.add(gdstk.Label('VPB', (5.125,2.715), layer=64, texttype=5))
scs130hd_mpr2ea_8.add(gdstk.Label('VPB', (7.565,2.715), layer=64, texttype=5))
scs130hd_mpr2ea_8.add(gdstk.Label('VPB', (0.245,2.715), layer=64, texttype=5))
scs130hd_mpr2ea_8.add(gdstk.Label('VPB', (2.685,2.715), layer=64, texttype=5))
scs130hd_mpr2ea_8.add(gdstk.Label('VPB', (5.125,2.715), layer=64, texttype=5))
scs130hd_mpr2ea_8.add(gdstk.Label('VPB', (7.565,2.715), layer=64, texttype=5))
scs130hd_mpr2ea_8.add(gdstk.Label('VNB', (0.245,0), layer=64, texttype=59))
scs130hd_mpr2ea_8.add(gdstk.Label('VNB', (2.685,0), layer=64, texttype=59))
scs130hd_mpr2ea_8.add(gdstk.Label('VNB', (5.125,0), layer=64, texttype=59))
scs130hd_mpr2ea_8.add(gdstk.Label('VNB', (7.565,0), layer=64, texttype=59))
scs130hd_mpr2ea_8.add(gdstk.Label('VNB', (0.245,0), layer=64, texttype=59))
scs130hd_mpr2ea_8.add(gdstk.Label('VNB', (2.685,0), layer=64, texttype=59))
scs130hd_mpr2ea_8.add(gdstk.Label('VNB', (5.125,0), layer=64, texttype=59))
scs130hd_mpr2ea_8.add(gdstk.Label('VNB', (7.565,0), layer=64, texttype=59))
scs130hd_mpr2ea_8.add(gdstk.Label('vpwr', (0.235,2.715), layer=68, texttype=5))
scs130hd_mpr2ea_8.add(gdstk.Label('vgnd', (0.235,0), layer=68, texttype=5))
scs130hd_mpr2ea_8.add(gdstk.Label('vpwr', (0.235,2.715), layer=68, texttype=5))
scs130hd_mpr2ea_8.add(gdstk.Label('vgnd', (0.235,0), layer=68, texttype=5))
scs130hd_mpr2ea_8.add(gdstk.Label('B0', (9.055,1.835), layer=70, texttype=5))
scs130hd_mpr2ea_8.add(gdstk.Label('A1', (4.535,0.875), layer=70, texttype=5))
scs130hd_mpr2ea_8.add(gdstk.Label('R2', (0.415,1.435), layer=70, texttype=5))
scs130hd_mpr2ea_8.add(gdstk.Label('A0', (8.575,0.715), layer=70, texttype=5))
scs130hd_mpr2ea_8.add(gdstk.Label('R0', (6.975,1.435), layer=70, texttype=5))
scs130hd_mpr2ea_8.add(gdstk.Label('R3', (2.855,1.275), layer=70, texttype=5))
scs130hd_mpr2ea_8.add(gdstk.Label('B1', (5.415,0.875), layer=70, texttype=5))
scs130hd_mpr2ea_8.add(gdstk.Label('R1', (1.855,0.715), layer=70, texttype=5))
scs130hd_mpr2ea_8.add(gdstk.Label('B0', (9.055,1.835), layer=70, texttype=5))
scs130hd_mpr2ea_8.add(gdstk.Label('A1', (4.535,0.875), layer=70, texttype=5))
scs130hd_mpr2ea_8.add(gdstk.Label('R2', (0.415,1.435), layer=70, texttype=5))
scs130hd_mpr2ea_8.add(gdstk.Label('A0', (8.575,0.715), layer=70, texttype=5))
scs130hd_mpr2ea_8.add(gdstk.Label('R0', (6.975,1.435), layer=70, texttype=5))
scs130hd_mpr2ea_8.add(gdstk.Label('R3', (2.855,1.275), layer=70, texttype=5))
scs130hd_mpr2ea_8.add(gdstk.Label('B1', (5.415,0.875), layer=70, texttype=5))
scs130hd_mpr2ea_8.add(gdstk.Label('R1', (1.855,0.715), layer=70, texttype=5))

lib.write_gds('scs130hd_mpr2ea_8.gds')
